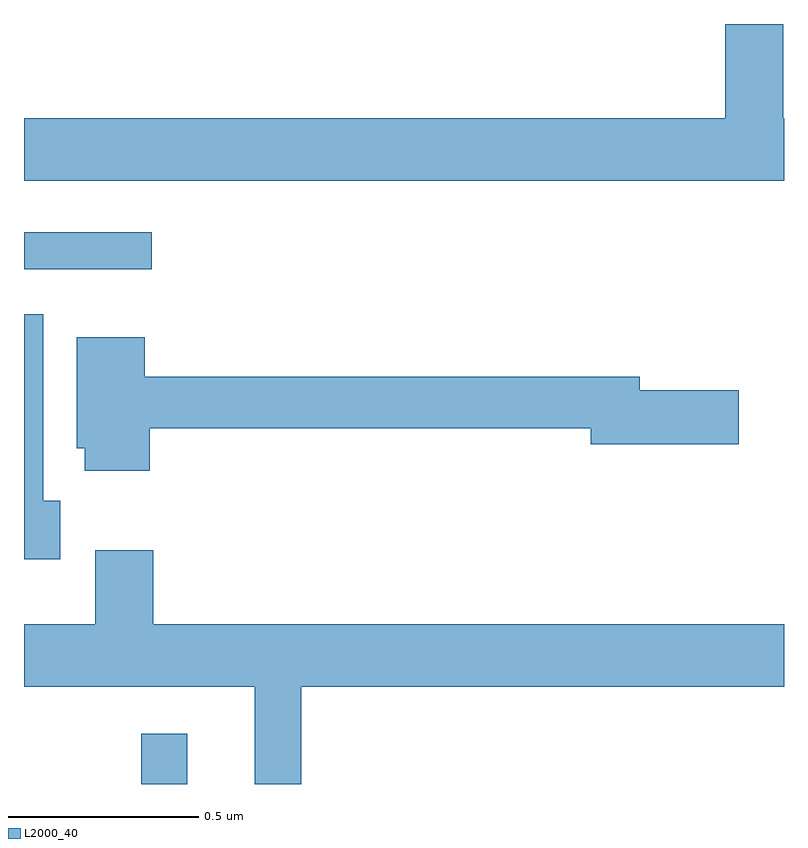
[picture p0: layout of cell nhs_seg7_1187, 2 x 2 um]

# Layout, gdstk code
import gdstk
lib = gdstk.Library(unit=1e-6, precision=1e-09)
def R(c, l, rs):  # rectangles x0, y0, x1, y1
    for r in rs: c.add(gdstk.rectangle(r[:2], r[2:], *l))
def P(c, l, *ps):  # polygons
    for p in ps: c.add(gdstk.Polygon(p, *l))
L2000_40 = (2000, 40)

nhs_seg7_1187 = lib.new_cell('nhs_seg7_1187')
R(nhs_seg7_1187, L2000_40, [(127.308,1027,127.429,1027.132), (127,1028.355,127.336,1028.452)])
P(nhs_seg7_1187, L2000_40, [(129,1028.752),(128.998,1028.752),(128.998,1029),(128.846,1029),(128.846,1028.752),(127,1028.752),(127,1028.588),(129,1028.588)],
  [(127.096,1027.746),(127.051,1027.746),(127.051,1028.236),(127,1028.236),(127,1027.592),(127.096,1027.592)],
  [(127.331,1027.936),(128.492,1027.936),(128.492,1027.894),(128.881,1027.894),(128.881,1028.036),(128.62,1028.036),(128.62,1028.072),(127.318,1028.072),(127.318,1028.176),(127.139,1028.176),(127.139,1027.884),(127.16,1027.884),(127.16,1027.824),(127.331,1027.824)],
  [(127.729,1027.256),(129,1027.256),(129,1027.42),(127.34,1027.42),(127.34,1027.615),(127.187,1027.615),(127.187,1027.42),(127,1027.42),(127,1027.256),(127.607,1027.256),(127.607,1027),(127.729,1027)])

lib.write_gds('nhs_seg7_1187.gds')
